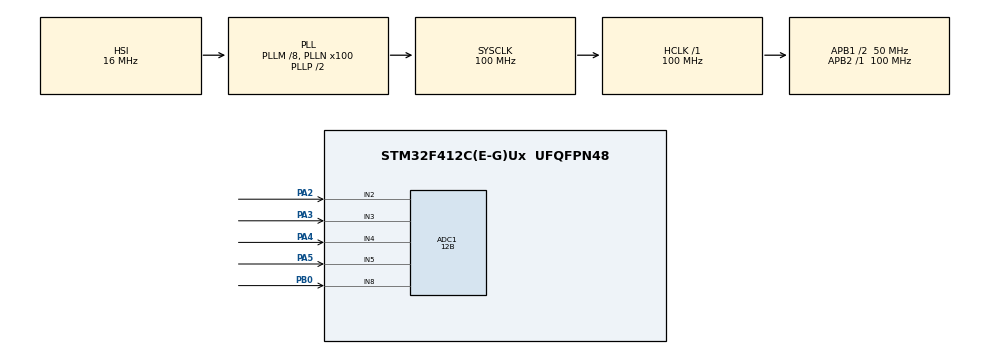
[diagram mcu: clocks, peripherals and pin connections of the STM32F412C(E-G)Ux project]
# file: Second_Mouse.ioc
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ADC1.Channel-0\#ChannelRegularConversion=ADC_CHANNEL_2
ADC1.Channel-5\#ChannelRegularConversion=ADC_CHANNEL_3
ADC1.Channel-6\#ChannelRegularConversion=ADC_CHANNEL_4
ADC1.Channel-7\#ChannelRegularConversion=ADC_CHANNEL_5
ADC1.Channel-8\#ChannelRegularConversion=ADC_CHANNEL_8
ADC1.ClockPrescaler=ADC_CLOCK_SYNC_PCLK_DIV4
ADC1.ContinuousConvMode=ENABLE
ADC1.DMAContinuousRequests=ENABLE
ADC1.DiscontinuousConvMode=DISABLE
ADC1.EOCSelection=ADC_EOC_SINGLE_CONV
ADC1.InjNumberOfConversion=0
ADC1.NbrOfConversion=5
ADC1.NbrOfConversionFlag=1
ADC1.Rank-0\#ChannelRegularConversion=1
ADC1.Rank-5\#ChannelRegularConversion=2
ADC1.Rank-6\#ChannelRegularConversion=3
ADC1.Rank-7\#ChannelRegularConversion=4
ADC1.Rank-8\#ChannelRegularConversion=5
ADC1.Resolution=ADC_RESOLUTION_12B
ADC1.SamplingTime-0\#ChannelRegularConversion=ADC_SAMPLETIME_28CYCLES
ADC1.SamplingTime-5\#ChannelRegularConversion=ADC_SAMPLETIME_28CYCLES
ADC1.SamplingTime-6\#ChannelRegularConversion=ADC_SAMPLETIME_28CYCLES
ADC1.SamplingTime-7\#ChannelRegularConversion=ADC_SAMPLETIME_28CYCLES
ADC1.SamplingTime-8\#ChannelRegularConversion=ADC_SAMPLETIME_28CYCLES
ADC1.ScanConvMode=ENABLE
ADC1.master=1
Dma.ADC1.0.Direction=DMA_PERIPH_TO_MEMORY
Dma.ADC1.0.FIFOMode=DMA_FIFOMODE_DISABLE
Dma.ADC1.0.Instance=DMA2_Stream0
Dma.ADC1.0.MemDataAlignment=DMA_MDATAALIGN_HALFWORD
Dma.ADC1.0.MemInc=DMA_MINC_ENABLE
Dma.ADC1.0.Mode=DMA_CIRCULAR
Dma.ADC1.0.PeriphDataAlignment=DMA_PDATAALIGN_HALFWORD
Dma.ADC1.0.PeriphInc=DMA_PINC_DISABLE
Dma.ADC1.0.Priority=DMA_PRIORITY_LOW
Dma.Request0=ADC1
Mcu.Family=STM32F4
Mcu.Name=STM32F412C(E-G)Ux
Mcu.Package=UFQFPN48
NVIC.DMA2_Stream0_IRQn=true\:0\:0\:false\:false\:true\:false\:true\:true
NVIC.PriorityGroup=NVIC_PRIORITYGROUP_4
PA13.Mode=Trace_Asynchronous_SW
PA13.Signal=SYS_JTMS-SWDIO
PA14.Mode=Trace_Asynchronous_SW
PA14.Signal=SYS_JTCK-SWCLK
PA2.Signal=ADCx_IN2
PA3.Signal=ADCx_IN3
PA4.Signal=ADCx_IN4
PA5.Signal=ADCx_IN5
PB0.Signal=ADCx_IN8
PB3.Mode=Trace_Asynchronous_SW
PB3.Signal=SYS_JTDO-SWO
PH0\ -\ OSC_IN.Mode=HSE-External-Oscillator
PH0\ -\ OSC_IN.Signal=RCC_OSC_IN
PH1\ -\ OSC_OUT.Mode=HSE-External-Oscillator
PH1\ -\ OSC_OUT.Signal=RCC_OSC_OUT
ProjectManager.HeapSize=0x200
ProjectManager.StackSize=0x400
ProjectManager.TargetToolchain=STM32CubeIDE
RCC.AHBFreq_Value=100000000
RCC.APB1CLKDivider=RCC_HCLK_DIV2
RCC.APB1Freq_Value=50000000
RCC.APB1TimFreq_Value=100000000
RCC.APB2Freq_Value=100000000
RCC.APB2TimFreq_Value=100000000
RCC.CortexFreq_Value=100000000
RCC.HCLKFreq_Value=100000000
RCC.PLLM=8
RCC.PLLN=100
RCC.SYSCLKFreq_VALUE=100000000
RCC.SYSCLKSource=RCC_SYSCLKSOURCE_PLLCLK
RCC.USBFreq_Value=100000000
RCC.VCOOutputFreq_Value=200000000
SH.ADCx_IN2.0=ADC1_IN2,IN2
SH.ADCx_IN3.0=ADC1_IN3,IN3
SH.ADCx_IN4.0=ADC1_IN4,IN4
SH.ADCx_IN5.0=ADC1_IN5,IN5
SH.ADCx_IN8.0=ADC1_IN8,IN8
board=custom

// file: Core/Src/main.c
/* USER CODE BEGIN Header */
/**
  ******************************************************************************
  * @file           : main.c
  * @brief          : Main program body
  ******************************************************************************
  * @attention
  *
  * Copyright (c) 2022 STMicroelectronics.
  * All rights reserved.
  *
  * This software is licensed under terms that can be found in the LICENSE file
  * in the root directory of this software component.
  * If no LICENSE file comes with this software, it is provided AS-IS.
  *
  ******************************************************************************
  */
/* USER CODE END Header */
#include "main.h"

/* USER CODE BEGIN Includes */
//#include "ICM_20648.h"
#include <stdio.h>

#include "ADC.h"
//#include "IR_Emitter.h"
//#include "LED_Driver.h"
//
//#include "IR_Emitter.h"
//#include "Motor_Driver.h"
/* USER CODE END Includes */

 ADC_HandleTypeDef hadc1;
DMA_HandleTypeDef hdma_adc1;

void SystemClock_Config(void);
static void MX_GPIO_Init(void);
static void MX_ADC1_Init(void);
static void MX_DMA_Init(void);

/* USER CODE BEGIN 0 */

#if 0
#ifdef __GNUC__
	#define PUTCHAR_PROTOTYPE int __io_putchar(int ch)
	#define GETCHAR_PROTOTYPE int __io_getchar(void)
#else
	#define PUTCHAR_PROTOTYPE int fputc(int ch, FILE *f)
	#define GETCHAR_PROTOTYPE int f getc(FILE* f)
*/

#endif /*__GNUC__*/

PUTCHAR_PROTOTYPE {
	HAL_UART_Transmit(&huart1, (uint8_t*)&ch, 1, 0xFFFF);
	return ch;
}
int __io_getchar(void) {
HAL_StatusTypeDef Status = HAL_BUSY;
uint8_t Data;

while(Status != HAL_OK)
{
Status = HAL_UART_Receive(&huart1, &Data, sizeof(Data), 10);
//if(Status == HAL_ERROR)
//{
//	return 0;
//	break;
//}

}

return(Data);
}
#endif
int _write(int file, char *ptr, int len)
{
  int DataIdx;
  for(DataIdx=0; DataIdx<len; DataIdx++)
  {
    ITM_SendChar(*ptr++);
  }
  return len;
}

void HAL_GPIO_EXTI_Callback(uint16_t GPIO_Pin){
	//swtitch IT
	static int i=0;
	//ChangeLED(i);
	i++;
	if(i > 7) i=0;
}
/* USER CODE END 0 */

int main(void)
{
  /* USER CODE BEGIN 1 */
//printf("start\r\n");
//	__IO uint32_t ad;
//	  double v;
  /* USER CODE END 1 */

  /* MCU Configuration--------------------------------------------------------*/

  /* Reset of all peripherals, Initializes the Flash interface and the Systick. */
  HAL_Init();

  /* Configure the system clock */
  SystemClock_Config();

  /* Initialize all configured peripherals */
  MX_GPIO_Init();
  MX_ADC1_Init();
  MX_DMA_Init();
  /* USER CODE BEGIN 2 */

  printf(" Hi\r\n");
  //GPIO
//  HAL_GPIO_WritePin(GPIOA,GPIO_PIN_1, GPIO_PIN_SET);//右
//  HAL_GPIO_WritePin(GPIOA,GPIO_PIN_12, GPIO_PIN_SET);//左
//  HAL_GPIO_WritePin(GPIOA,GPIO_PIN_11, GPIO_PIN_SET);
//
//  HAL_GPIO_WritePin(GPIOB,GPIO_PIN_9, GPIO_PIN_RESET);
//
//  HAL_GPIO_WritePin(GPIOB,GPIO_PIN_1, GPIO_PIN_RESET);
//  //HAL_Delay(1000);
//  HAL_GPIO_WritePin(GPIOB,GPIO_PIN_1, GPIO_PIN_SET);
#if 0
  //LED
  for(int i=0; i < 8; i++){

	  ChangeLED(i);

	  HAL_Delay(200);
  }
#endif

#if 0
  //Motor Driver Output OK. Check handa
  Motor_PWM_Start();
  Motor_Switch(4000, 4000);
  __HAL_TIM_SET_COMPARE(&htim10, TIM_CHANNEL_1, 30000);
#endif

#if 0
  //IMU OK.Noisy
  uint8_t check;
  check = IMU_init();
  printf("check : %d\r\n",check);
  if(check) {
	  printf("OK\r\n");
  }
    else {
    	printf("nom\r\n");
    	check = IMU_init();
    }
  printf("check : %d\r\n",check);
  HAL_Delay(1000);
  read_gyro_data();
  HAL_Delay(1000);
  printf("zg : %d\r\n",zg);
#endif

#if 0

#endif

#if 1
  //encoder
  //IR emitter
  //EmitterON();
  //ADCStart();
  HAL_ADC_Start_DMA(&hadc1, (uint32_t *) adcarien, ADC1_CH_NUM);
  //HAL_Delay(1000);

  //battery
  //uint32_t batt = adcarien[0];
  HAL_Delay(500);
  //printf("batt : %ld\r\n",batt);

  //HAL_Delay(200);
  printf("get IR\r\n");
#endif
  /* USER CODE END 2 */

  /* Infinite loop */
  /* USER CODE BEGIN WHILE */
//  while(1){
//	  ChangeLED(2);
//  }

  while (1)
  {
#if 0
	  //HAL_GPIO_WritePin(GPIOA,GPIO_PIN_4, GPIO_PIN_SET);
	  HAL_ADC_Start(&hadc1);
	    if( HAL_ADC_PollForConversion(&hadc1, 1000) == HAL_OK )
	        {
	    	ad = HAL_ADC_GetValue(&hadc1);
	            v = 3.3 * ad / 4095;
	        }
	        HAL_ADC_Stop(&hadc1);
	        printf("v : %f\r\n",v); // @suppress("Float formatting support")
	        HAL_Delay(500);
#else
//	  int adcdata[5]={0};
//
//	  adcdata[0] = adc1[0];
//	  adcdata[1] = adc1[1];
//	  adcdata[2] = adc1[2];
//	  adcdata[3] = adc1[3];
//	  adcdata[4] = adc1[4];
	        //ADCStart();
	  printf("adc : %d, %d, %d, %d, %d\r\n",adcarien[0],adcarien[1],adcarien[2],adcarien[3],adcarien[4]);
	  //printf("scan conversion\r\n");
	  HAL_Delay(200);

#endif
    /* USER CODE END WHILE */

  }
}

void SystemClock_Config(void)
{
  RCC_OscInitTypeDef RCC_OscInitStruct = {0};
  RCC_ClkInitTypeDef RCC_ClkInitStruct = {0};

  /** Configure the main internal regulator output voltage
  */
  __HAL_RCC_PWR_CLK_ENABLE();
  __HAL_PWR_VOLTAGESCALING_CONFIG(PWR_REGULATOR_VOLTAGE_SCALE1);

  /** Initializes the RCC Oscillators according to the specified parameters
  * in the RCC_OscInitTypeDef structure.
  */
  RCC_OscInitStruct.OscillatorType = RCC_OSCILLATORTYPE_HSI;
  RCC_OscInitStruct.HSIState = RCC_HSI_ON;
  RCC_OscInitStruct.HSICalibrationValue = RCC_HSICALIBRATION_DEFAULT;
  RCC_OscInitStruct.PLL.PLLState = RCC_PLL_ON;
  RCC_OscInitStruct.PLL.PLLSource = RCC_PLLSOURCE_HSI;
  RCC_OscInitStruct.PLL.PLLM = 8;
  RCC_OscInitStruct.PLL.PLLN = 100;
  RCC_OscInitStruct.PLL.PLLP = RCC_PLLP_DIV2;
  RCC_OscInitStruct.PLL.PLLQ = 2;
  RCC_OscInitStruct.PLL.PLLR = 2;
  if (HAL_RCC_OscConfig(&RCC_OscInitStruct) != HAL_OK)
  {
    Error_Handler();
  }

  /** Initializes the CPU, AHB and APB buses clocks
  */
  RCC_ClkInitStruct.ClockType = RCC_CLOCKTYPE_HCLK|RCC_CLOCKTYPE_SYSCLK
                              |RCC_CLOCKTYPE_PCLK1|RCC_CLOCKTYPE_PCLK2;
  RCC_ClkInitStruct.SYSCLKSource = RCC_SYSCLKSOURCE_PLLCLK;
  RCC_ClkInitStruct.AHBCLKDivider = RCC_SYSCLK_DIV1;
  RCC_ClkInitStruct.APB1CLKDivider = RCC_HCLK_DIV2;
  RCC_ClkInitStruct.APB2CLKDivider = RCC_HCLK_DIV1;

  if (HAL_RCC_ClockConfig(&RCC_ClkInitStruct, FLASH_LATENCY_3) != HAL_OK)
  {
    Error_Handler();
  }
}

static void MX_ADC1_Init(void)
{

  ADC_ChannelConfTypeDef sConfig = {0};

  /** Configure the global features of the ADC (Clock, Resolution, Data Alignment and number of conversion)
  */
  hadc1.Instance = ADC1;
  hadc1.Init.ClockPrescaler = ADC_CLOCK_SYNC_PCLK_DIV4;
  hadc1.Init.Resolution = ADC_RESOLUTION_12B;
  hadc1.Init.ScanConvMode = ENABLE;
  hadc1.Init.ContinuousConvMode = ENABLE;
  hadc1.Init.DiscontinuousConvMode = DISABLE;
  hadc1.Init.ExternalTrigConvEdge = ADC_EXTERNALTRIGCONVEDGE_NONE;
  hadc1.Init.ExternalTrigConv = ADC_SOFTWARE_START;
  hadc1.Init.DataAlign = ADC_DATAALIGN_RIGHT;
  hadc1.Init.NbrOfConversion = 5;
  hadc1.Init.DMAContinuousRequests = ENABLE;
  hadc1.Init.EOCSelection = ADC_EOC_SINGLE_CONV;
  if (HAL_ADC_Init(&hadc1) != HAL_OK)
  {
    Error_Handler();
  }

  /** Configure for the selected ADC regular channel its corresponding rank in the sequencer and its sample time.
  */
  sConfig.Channel = ADC_CHANNEL_2;
  sConfig.Rank = 1;
  sConfig.SamplingTime = ADC_SAMPLETIME_28CYCLES;
  if (HAL_ADC_ConfigChannel(&hadc1, &sConfig) != HAL_OK)
  {
    Error_Handler();
  }

  /** Configure for the selected ADC regular channel its corresponding rank in the sequencer and its sample time.
  */
  sConfig.Channel = ADC_CHANNEL_3;
  sConfig.Rank = 2;
  if (HAL_ADC_ConfigChannel(&hadc1, &sConfig) != HAL_OK)
  {
    Error_Handler();
  }

  /** Configure for the selected ADC regular channel its corresponding rank in the sequencer and its sample time.
  */
  sConfig.Channel = ADC_CHANNEL_4;
  sConfig.Rank = 3;
  if (HAL_ADC_ConfigChannel(&hadc1, &sConfig) != HAL_OK)
  {
    Error_Handler();
  }

  /** Configure for the selected ADC regular channel its corresponding rank in the sequencer and its sample time.
  */
  sConfig.Channel = ADC_CHANNEL_5;
  sConfig.Rank = 4;
  if (HAL_ADC_ConfigChannel(&hadc1, &sConfig) != HAL_OK)
  {
    Error_Handler();
  }

  /** Configure for the selected ADC regular channel its corresponding rank in the sequencer and its sample time.
  */
  sConfig.Channel = ADC_CHANNEL_8;
  sConfig.Rank = 5;
  if (HAL_ADC_ConfigChannel(&hadc1, &sConfig) != HAL_OK)
  {
    Error_Handler();
  }

}

static void MX_DMA_Init(void)
{

  /* DMA controller clock enable */
  __HAL_RCC_DMA2_CLK_ENABLE();

  /* DMA interrupt init */
  /* DMA2_Stream0_IRQn interrupt configuration */
  HAL_NVIC_SetPriority(DMA2_Stream0_IRQn, 0, 0);
  HAL_NVIC_EnableIRQ(DMA2_Stream0_IRQn);

}

static void MX_GPIO_Init(void)
{

  /* GPIO Ports Clock Enable */
  __HAL_RCC_GPIOH_CLK_ENABLE();
  __HAL_RCC_GPIOA_CLK_ENABLE();
  __HAL_RCC_GPIOB_CLK_ENABLE();

}

void Error_Handler(void)
{
  __disable_irq();
  while (1)
  {
  }
}
